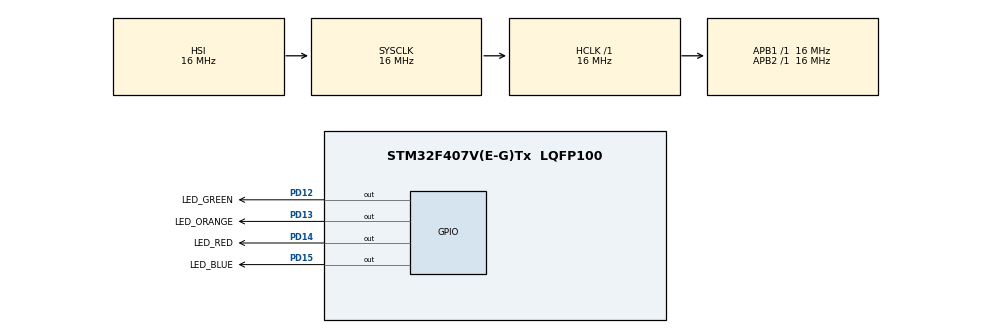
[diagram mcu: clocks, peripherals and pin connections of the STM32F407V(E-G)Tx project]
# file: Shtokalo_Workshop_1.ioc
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Mcu.Family=STM32F4
Mcu.Name=STM32F407V(E-G)Tx
Mcu.Package=LQFP100
NVIC.PriorityGroup=NVIC_PRIORITYGROUP_4
PD12.GPIO_Label=LED_GREEN
PD12.Signal=GPIO_Output
PD13.GPIO_Label=LED_ORANGE
PD13.Signal=GPIO_Output
PD14.GPIO_Label=LED_RED
PD14.Signal=GPIO_Output
PD15.GPIO_Label=LED_BLUE
PD15.Signal=GPIO_Output
ProjectManager.HeapSize=0x200
ProjectManager.StackSize=0x400
ProjectManager.TargetToolchain=STM32CubeIDE
RCC.AHBFreq_Value=16000000
RCC.APB1Freq_Value=16000000
RCC.APB2Freq_Value=16000000
RCC.CortexFreq_Value=16000000
RCC.HSE_VALUE=25000000
RCC.HSI_VALUE=16000000
RCC.LSE_VALUE=32768
RCC.SYSCLKFreq_VALUE=16000000
RCC.VCOOutputFreq_Value=192000000
board=custom

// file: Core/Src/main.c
/* USER CODE BEGIN Header */
/**
  ******************************************************************************
  * @file           : main.c
  * @brief          : Main program body
  ******************************************************************************
  * @attention
  *
  * <h2><center>&copy; Copyright (c) 2021 STMicroelectronics.
  * All rights reserved.</center></h2>
  *
  * This software component is licensed by ST under BSD 3-Clause license,
  * the "License"; You may not use this file except in compliance with the
  * License. You may obtain a copy of the License at:
  *                        opensource.org/licenses/BSD-3-Clause
  *
  ******************************************************************************
  */
/* USER CODE END Header */
#include "main.h"

void SystemClock_Config(void);
static void MX_GPIO_Init(void);

int main(void)
{

  /* MCU Configuration--------------------------------------------------------*/

  /* Reset of all peripherals, Initializes the Flash interface and the Systick. */
  HAL_Init();

  /* Configure the system clock */
  SystemClock_Config();

  /* Initialize all configured peripherals */
  MX_GPIO_Init();

  /* Infinite loop */
  while (1)
  {

    /* USER CODE BEGIN 3 */
	  for(int i = 0; i < 16; i++){
		  int remainder = i;
		  if(remainder % 2 == 1){
			  HAL_GPIO_WritePin(GPIOD, LED_GREEN_Pin, GPIO_PIN_SET);
		  }
		  else{
			  HAL_GPIO_WritePin(GPIOD, LED_GREEN_Pin, GPIO_PIN_RESET);
		  }

		  remainder >>= 1;
		  if(remainder % 2 == 1){
		  	  HAL_GPIO_WritePin(GPIOD, LED_ORANGE_Pin, GPIO_PIN_SET);
		  }
		  else{
			  HAL_GPIO_WritePin(GPIOD, LED_ORANGE_Pin, GPIO_PIN_RESET);
		  }

		  remainder >>= 1;
		  if(remainder % 2 == 1){
			  HAL_GPIO_WritePin(GPIOD, LED_RED_Pin, GPIO_PIN_SET);
		  }
		  else{
			  HAL_GPIO_WritePin(GPIOD, LED_RED_Pin, GPIO_PIN_RESET);
		  }

		  remainder >>= 1;
		  if(remainder % 2 == 1){
			  HAL_GPIO_WritePin(GPIOD, LED_BLUE_Pin, GPIO_PIN_SET);
		  }
		  else{
		  	  HAL_GPIO_WritePin(GPIOD, LED_BLUE_Pin, GPIO_PIN_RESET);
		  }

		  HAL_Delay(250);
	  }

	  HAL_Delay(250);
	  for(int i = 0; i < 5; i++){
		  HAL_GPIO_WritePin(GPIOD, LED_BLUE_Pin, GPIO_PIN_SET);
		  HAL_GPIO_WritePin(GPIOD, LED_RED_Pin, GPIO_PIN_SET);
		  HAL_GPIO_WritePin(GPIOD, LED_ORANGE_Pin, GPIO_PIN_SET);
		  HAL_GPIO_WritePin(GPIOD, LED_GREEN_Pin, GPIO_PIN_SET);
	      HAL_Delay(200);
	      HAL_GPIO_WritePin(GPIOD, LED_BLUE_Pin, GPIO_PIN_RESET);
	      HAL_GPIO_WritePin(GPIOD, LED_RED_Pin, GPIO_PIN_RESET);
	      HAL_GPIO_WritePin(GPIOD, LED_ORANGE_Pin, GPIO_PIN_RESET);
	      HAL_GPIO_WritePin(GPIOD, LED_GREEN_Pin, GPIO_PIN_RESET);
	      HAL_Delay(200);
	  }
  }
  /* USER CODE END 3 */
}

void SystemClock_Config(void)
{
  RCC_OscInitTypeDef RCC_OscInitStruct = {0};
  RCC_ClkInitTypeDef RCC_ClkInitStruct = {0};

  /** Configure the main internal regulator output voltage
  */
  __HAL_RCC_PWR_CLK_ENABLE();
  __HAL_PWR_VOLTAGESCALING_CONFIG(PWR_REGULATOR_VOLTAGE_SCALE1);
  /** Initializes the RCC Oscillators according to the specified parameters
  * in the RCC_OscInitTypeDef structure.
  */
  RCC_OscInitStruct.OscillatorType = RCC_OSCILLATORTYPE_HSI;
  RCC_OscInitStruct.HSIState = RCC_HSI_ON;
  RCC_OscInitStruct.HSICalibrationValue = RCC_HSICALIBRATION_DEFAULT;
  RCC_OscInitStruct.PLL.PLLState = RCC_PLL_NONE;
  if (HAL_RCC_OscConfig(&RCC_OscInitStruct) != HAL_OK)
  {
    Error_Handler();
  }
  /** Initializes the CPU, AHB and APB buses clocks
  */
  RCC_ClkInitStruct.ClockType = RCC_CLOCKTYPE_HCLK|RCC_CLOCKTYPE_SYSCLK
                              |RCC_CLOCKTYPE_PCLK1|RCC_CLOCKTYPE_PCLK2;
  RCC_ClkInitStruct.SYSCLKSource = RCC_SYSCLKSOURCE_HSI;
  RCC_ClkInitStruct.AHBCLKDivider = RCC_SYSCLK_DIV1;
  RCC_ClkInitStruct.APB1CLKDivider = RCC_HCLK_DIV1;
  RCC_ClkInitStruct.APB2CLKDivider = RCC_HCLK_DIV1;

  if (HAL_RCC_ClockConfig(&RCC_ClkInitStruct, FLASH_LATENCY_0) != HAL_OK)
  {
    Error_Handler();
  }
}

static void MX_GPIO_Init(void)
{
  GPIO_InitTypeDef GPIO_InitStruct = {0};

  /* GPIO Ports Clock Enable */
  __HAL_RCC_GPIOD_CLK_ENABLE();

  /*Configure GPIO pin Output Level */
  HAL_GPIO_WritePin(GPIOD, LED_GREEN_Pin|LED_ORANGE_Pin|LED_RED_Pin|LED_BLUE_Pin, GPIO_PIN_RESET);

  /*Configure GPIO pins : LED_GREEN_Pin LED_ORANGE_Pin LED_RED_Pin LED_BLUE_Pin */
  GPIO_InitStruct.Pin = LED_GREEN_Pin|LED_ORANGE_Pin|LED_RED_Pin|LED_BLUE_Pin;
  GPIO_InitStruct.Mode = GPIO_MODE_OUTPUT_PP;
  GPIO_InitStruct.Pull = GPIO_NOPULL;
  GPIO_InitStruct.Speed = GPIO_SPEED_FREQ_LOW;
  HAL_GPIO_Init(GPIOD, &GPIO_InitStruct);

}

void Error_Handler(void)
{
  __disable_irq();
  while (1)
  {
  }
}

/************************ (C) COPYRIGHT STMicroelectronics *****END OF FILE****/
